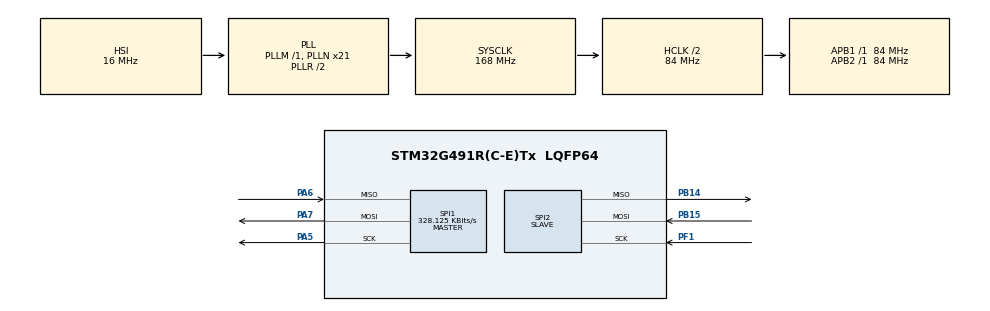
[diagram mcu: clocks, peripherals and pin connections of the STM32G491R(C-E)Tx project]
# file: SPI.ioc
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Mcu.Family=STM32G4
Mcu.Name=STM32G491R(C-E)Tx
Mcu.Package=LQFP64
NVIC.PriorityGroup=NVIC_PRIORITYGROUP_4
NVIC.SPI1_IRQn=true\:2\:0\:true\:false\:true\:true\:true\:true
NVIC.SPI2_IRQn=true\:1\:0\:true\:false\:true\:true\:true\:true
PA5.Mode=Full_Duplex_Master
PA5.Signal=SPI1_SCK
PA6.Mode=Full_Duplex_Master
PA6.Signal=SPI1_MISO
PA7.Mode=Full_Duplex_Master
PA7.Signal=SPI1_MOSI
PB14.Mode=Full_Duplex_Slave
PB14.Signal=SPI2_MISO
PB15.Mode=Full_Duplex_Slave
PB15.Signal=SPI2_MOSI
PF1-OSC_OUT.Mode=Full_Duplex_Slave
PF1-OSC_OUT.Signal=SPI2_SCK
ProjectManager.HeapSize=0x200
ProjectManager.StackSize=0x400
ProjectManager.TargetToolchain=STM32CubeIDE
RCC.ADC12Freq_Value=168000000
RCC.ADC345Freq_Value=168000000
RCC.AHBCLKDivider=RCC_SYSCLK_DIV2
RCC.AHBFreq_Value=84000000
RCC.APB1Freq_Value=84000000
RCC.APB1TimFreq_Value=84000000
RCC.APB2Freq_Value=84000000
RCC.APB2TimFreq_Value=84000000
RCC.CortexFreq_Value=84000000
RCC.EXTERNAL_CLOCK_VALUE=12288000
RCC.HCLKFreq_Value=84000000
RCC.HSE_VALUE=8000000
RCC.HSI48_VALUE=48000000
RCC.HSI_VALUE=16000000
RCC.LSE_VALUE=32768
RCC.PLLN=21
RCC.SYSCLKFreq_VALUE=168000000
RCC.SYSCLKSource=RCC_SYSCLKSOURCE_PLLCLK
RCC.VCOOutputFreq_Value=336000000
SPI1.BaudRatePrescaler=SPI_BAUDRATEPRESCALER_256
SPI1.CalculateBaudRate=328.125 KBits/s
SPI1.DataSize=SPI_DATASIZE_8BIT
SPI1.Direction=SPI_DIRECTION_2LINES
SPI1.Mode=SPI_MODE_MASTER
SPI1.VirtualType=VM_MASTER
SPI2.DataSize=SPI_DATASIZE_8BIT
SPI2.Direction=SPI_DIRECTION_2LINES
SPI2.Mode=SPI_MODE_SLAVE
SPI2.VirtualType=VM_SLAVE
VP_SYS_VS_DBSignals.Mode=DisableDeadBatterySignals
board=custom

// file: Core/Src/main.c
/* USER CODE BEGIN Header */
/**
  ******************************************************************************
  * @file           : main.c
  * @brief          : Main program body
  ******************************************************************************
  * @attention
  *
  * Copyright (c) 2024 STMicroelectronics.
  * All rights reserved.
  *
  * This software is licensed under terms that can be found in the LICENSE file
  * in the root directory of this software component.
  * If no LICENSE file comes with this software, it is provided AS-IS.
  *
  ******************************************************************************
  */
/* USER CODE END Header */
#include "main.h"

/* USER CODE BEGIN Includes */
#include <string.h>
/* USER CODE END Includes */

/* USER CODE BEGIN PD */
#define SPIBUF 17
/* USER CODE END PD */

SPI_HandleTypeDef hspi1;
SPI_HandleTypeDef hspi2;

/* USER CODE BEGIN PV */
const uint8_t spi1TxBuf[SPIBUF] = "0123456789abcdef";
uint8_t spi2RxBuf[SPIBUF];
__IO uint8_t RxDone;
uint8_t checkRx;
uint8_t checkTx;
/* USER CODE END PV */

void SystemClock_Config(void);
static void MX_GPIO_Init(void);
static void MX_SPI1_Init(void);
static void MX_SPI2_Init(void);

int main(void)
{

  /* MCU Configuration--------------------------------------------------------*/

  /* Reset of all peripherals, Initializes the Flash interface and the Systick. */
  HAL_Init();

  /* Configure the system clock */
  SystemClock_Config();

  /* Initialize all configured peripherals */
  MX_GPIO_Init();
  MX_SPI1_Init();
  MX_SPI2_Init();

  /* Infinite loop */
  while (1)
  {

    /* USER CODE BEGIN 3 */
	  memset(spi2RxBuf, 0, SPIBUF);
	  RxDone = 0;
	  checkRx = HAL_SPI_Receive_IT(&hspi2,spi2RxBuf, SPIBUF);
	  checkTx = HAL_SPI_Transmit(&hspi1, (uint8_t*)spi1TxBuf, SPIBUF, 1000);
	  while(RxDone == 0)
		  ;
	  __NOP();
  }
  /* USER CODE END 3 */
}

void SystemClock_Config(void)
{
  RCC_OscInitTypeDef RCC_OscInitStruct = {0};
  RCC_ClkInitTypeDef RCC_ClkInitStruct = {0};

  /** Configure the main internal regulator output voltage
  */
  HAL_PWREx_ControlVoltageScaling(PWR_REGULATOR_VOLTAGE_SCALE1);

  /** Initializes the RCC Oscillators according to the specified parameters
  * in the RCC_OscInitTypeDef structure.
  */
  RCC_OscInitStruct.OscillatorType = RCC_OSCILLATORTYPE_HSI;
  RCC_OscInitStruct.HSIState = RCC_HSI_ON;
  RCC_OscInitStruct.HSICalibrationValue = RCC_HSICALIBRATION_DEFAULT;
  RCC_OscInitStruct.PLL.PLLState = RCC_PLL_ON;
  RCC_OscInitStruct.PLL.PLLSource = RCC_PLLSOURCE_HSI;
  RCC_OscInitStruct.PLL.PLLM = RCC_PLLM_DIV1;
  RCC_OscInitStruct.PLL.PLLN = 21;
  RCC_OscInitStruct.PLL.PLLP = RCC_PLLP_DIV2;
  RCC_OscInitStruct.PLL.PLLQ = RCC_PLLQ_DIV2;
  RCC_OscInitStruct.PLL.PLLR = RCC_PLLR_DIV2;
  if (HAL_RCC_OscConfig(&RCC_OscInitStruct) != HAL_OK)
  {
    Error_Handler();
  }

  /** Initializes the CPU, AHB and APB buses clocks
  */
  RCC_ClkInitStruct.ClockType = RCC_CLOCKTYPE_HCLK|RCC_CLOCKTYPE_SYSCLK
                              |RCC_CLOCKTYPE_PCLK1|RCC_CLOCKTYPE_PCLK2;
  RCC_ClkInitStruct.SYSCLKSource = RCC_SYSCLKSOURCE_PLLCLK;
  RCC_ClkInitStruct.AHBCLKDivider = RCC_SYSCLK_DIV2;
  RCC_ClkInitStruct.APB1CLKDivider = RCC_HCLK_DIV1;
  RCC_ClkInitStruct.APB2CLKDivider = RCC_HCLK_DIV1;

  if (HAL_RCC_ClockConfig(&RCC_ClkInitStruct, FLASH_LATENCY_2) != HAL_OK)
  {
    Error_Handler();
  }
}

static void MX_SPI1_Init(void)
{

  /* SPI1 parameter configuration*/
  hspi1.Instance = SPI1;
  hspi1.Init.Mode = SPI_MODE_MASTER;
  hspi1.Init.Direction = SPI_DIRECTION_2LINES;
  hspi1.Init.DataSize = SPI_DATASIZE_8BIT;
  hspi1.Init.CLKPolarity = SPI_POLARITY_LOW;
  hspi1.Init.CLKPhase = SPI_PHASE_1EDGE;
  hspi1.Init.NSS = SPI_NSS_SOFT;
  hspi1.Init.BaudRatePrescaler = SPI_BAUDRATEPRESCALER_256;
  hspi1.Init.FirstBit = SPI_FIRSTBIT_MSB;
  hspi1.Init.TIMode = SPI_TIMODE_DISABLE;
  hspi1.Init.CRCCalculation = SPI_CRCCALCULATION_DISABLE;
  hspi1.Init.CRCPolynomial = 7;
  hspi1.Init.CRCLength = SPI_CRC_LENGTH_DATASIZE;
  hspi1.Init.NSSPMode = SPI_NSS_PULSE_ENABLE;
  if (HAL_SPI_Init(&hspi1) != HAL_OK)
  {
    Error_Handler();
  }

}

static void MX_SPI2_Init(void)
{

  /* SPI2 parameter configuration*/
  hspi2.Instance = SPI2;
  hspi2.Init.Mode = SPI_MODE_SLAVE;
  hspi2.Init.Direction = SPI_DIRECTION_2LINES;
  hspi2.Init.DataSize = SPI_DATASIZE_8BIT;
  hspi2.Init.CLKPolarity = SPI_POLARITY_LOW;
  hspi2.Init.CLKPhase = SPI_PHASE_1EDGE;
  hspi2.Init.NSS = SPI_NSS_SOFT;
  hspi2.Init.FirstBit = SPI_FIRSTBIT_MSB;
  hspi2.Init.TIMode = SPI_TIMODE_DISABLE;
  hspi2.Init.CRCCalculation = SPI_CRCCALCULATION_DISABLE;
  hspi2.Init.CRCPolynomial = 7;
  hspi2.Init.CRCLength = SPI_CRC_LENGTH_DATASIZE;
  hspi2.Init.NSSPMode = SPI_NSS_PULSE_DISABLE;
  if (HAL_SPI_Init(&hspi2) != HAL_OK)
  {
    Error_Handler();
  }

}

static void MX_GPIO_Init(void)
{

  /* GPIO Ports Clock Enable */
  __HAL_RCC_GPIOF_CLK_ENABLE();
  __HAL_RCC_GPIOA_CLK_ENABLE();
  __HAL_RCC_GPIOB_CLK_ENABLE();

}

/* USER CODE BEGIN 4 */
void HAL_SPI_RxCpltCallback(SPI_HandleTypeDef *hspi)
{
	if(hspi == &hspi2){
		RxDone =1;
	}
}
/* USER CODE END 4 */

void Error_Handler(void)
{
  __disable_irq();
  while (1)
  {
  }
}
